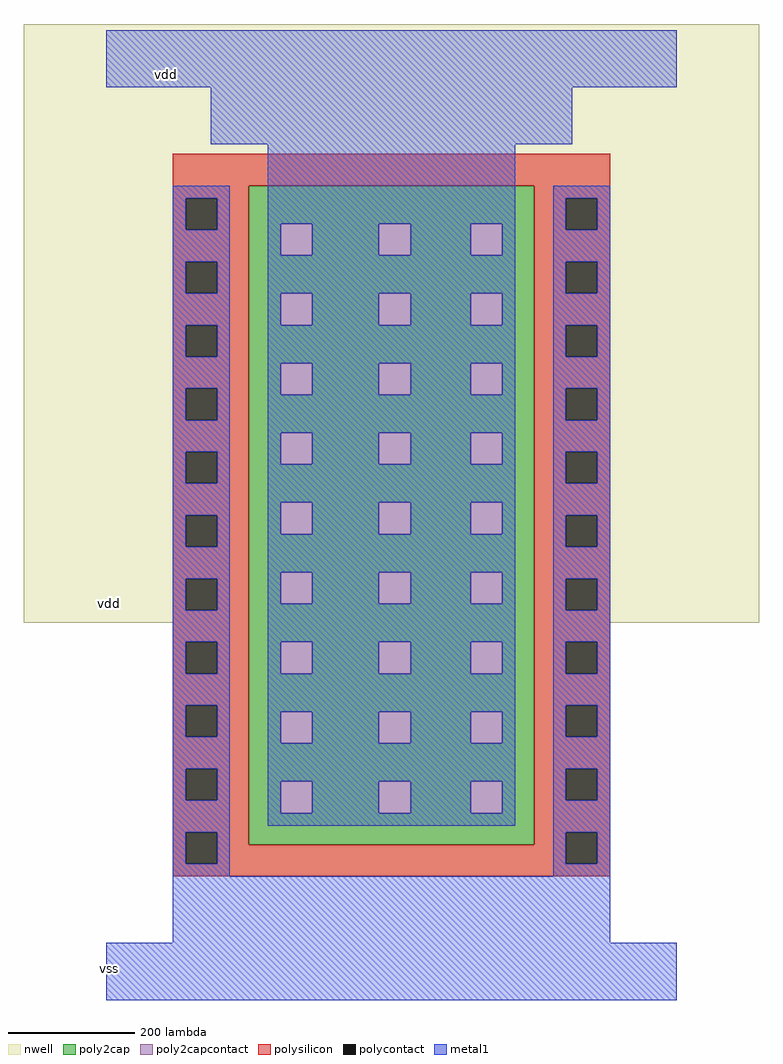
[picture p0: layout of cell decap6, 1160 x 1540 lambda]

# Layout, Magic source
magic
tech amic5n
<< nwell >>
rect -130 550 1030 1495
rect 105 150 795 550
<< polysilicon >>
rect 105 1240 795 1290
rect 105 1220 225 1240
rect 105 1170 125 1220
rect 175 1170 225 1220
rect 675 1220 795 1240
rect 105 1120 225 1170
rect 675 1170 725 1220
rect 775 1170 795 1220
rect 105 1070 125 1120
rect 175 1070 225 1120
rect 675 1120 795 1170
rect 675 1070 725 1120
rect 775 1070 795 1120
rect 105 1020 225 1070
rect 675 1020 795 1070
rect 105 970 125 1020
rect 175 970 225 1020
rect 105 920 225 970
rect 675 970 725 1020
rect 775 970 795 1020
rect 105 870 125 920
rect 175 870 225 920
rect 675 920 795 970
rect 105 820 225 870
rect 675 870 725 920
rect 775 870 795 920
rect 105 770 125 820
rect 175 770 225 820
rect 675 820 795 870
rect 105 720 225 770
rect 675 770 725 820
rect 775 770 795 820
rect 105 670 125 720
rect 175 670 225 720
rect 675 720 795 770
rect 105 620 225 670
rect 675 670 725 720
rect 775 670 795 720
rect 105 570 125 620
rect 175 570 225 620
rect 675 620 795 670
rect 105 520 225 570
rect 675 570 725 620
rect 775 570 795 620
rect 675 520 795 570
rect 105 470 125 520
rect 175 470 225 520
rect 675 470 725 520
rect 775 470 795 520
rect 105 420 225 470
rect 105 370 125 420
rect 175 370 225 420
rect 675 420 795 470
rect 105 320 225 370
rect 675 370 725 420
rect 775 370 795 420
rect 105 270 125 320
rect 175 270 225 320
rect 675 320 795 370
rect 105 220 225 270
rect 675 270 725 320
rect 775 270 795 320
rect 105 170 125 220
rect 175 200 225 220
rect 675 220 795 270
rect 675 200 725 220
rect 175 170 725 200
rect 775 170 795 220
rect 105 150 795 170
<< polycontact >>
rect 125 1170 175 1220
rect 725 1170 775 1220
rect 125 1070 175 1120
rect 725 1070 775 1120
rect 125 970 175 1020
rect 725 970 775 1020
rect 125 870 175 920
rect 725 870 775 920
rect 125 770 175 820
rect 725 770 775 820
rect 125 670 175 720
rect 725 670 775 720
rect 125 570 175 620
rect 725 570 775 620
rect 125 470 175 520
rect 725 470 775 520
rect 125 370 175 420
rect 725 370 775 420
rect 125 270 175 320
rect 725 270 775 320
rect 125 170 175 220
rect 725 170 775 220
<< poly2cap >>
rect 225 1180 675 1240
rect 225 1130 275 1180
rect 325 1130 430 1180
rect 480 1130 575 1180
rect 625 1130 675 1180
rect 225 1070 675 1130
rect 225 1020 275 1070
rect 325 1020 430 1070
rect 480 1020 575 1070
rect 625 1020 675 1070
rect 225 960 675 1020
rect 225 910 275 960
rect 325 910 430 960
rect 480 910 575 960
rect 625 910 675 960
rect 225 850 675 910
rect 225 800 275 850
rect 325 800 430 850
rect 480 800 575 850
rect 625 800 675 850
rect 225 740 675 800
rect 225 690 275 740
rect 325 690 430 740
rect 480 690 575 740
rect 625 690 675 740
rect 225 630 675 690
rect 225 580 275 630
rect 325 580 430 630
rect 480 580 575 630
rect 625 580 675 630
rect 225 520 675 580
rect 225 470 275 520
rect 325 470 430 520
rect 480 470 575 520
rect 625 470 675 520
rect 225 410 675 470
rect 225 360 275 410
rect 325 360 430 410
rect 480 360 575 410
rect 625 360 675 410
rect 225 300 675 360
rect 225 250 275 300
rect 325 250 430 300
rect 480 250 575 300
rect 625 250 675 300
rect 225 200 675 250
<< poly2capcontact >>
rect 275 1130 325 1180
rect 430 1130 480 1180
rect 575 1130 625 1180
rect 275 1020 325 1070
rect 430 1020 480 1070
rect 575 1020 625 1070
rect 275 910 325 960
rect 430 910 480 960
rect 575 910 625 960
rect 275 800 325 850
rect 430 800 480 850
rect 575 800 625 850
rect 275 690 325 740
rect 430 690 480 740
rect 575 690 625 740
rect 275 580 325 630
rect 430 580 480 630
rect 575 580 625 630
rect 275 470 325 520
rect 430 470 480 520
rect 575 470 625 520
rect 275 360 325 410
rect 430 360 480 410
rect 575 360 625 410
rect 275 250 325 300
rect 430 250 480 300
rect 575 250 625 300
<< metal1 >>
rect 0 1395 900 1485
rect 165 1305 735 1395
rect 105 1220 195 1240
rect 105 1170 125 1220
rect 175 1170 195 1220
rect 105 1120 195 1170
rect 105 1070 125 1120
rect 175 1070 195 1120
rect 105 1020 195 1070
rect 105 970 125 1020
rect 175 970 195 1020
rect 105 920 195 970
rect 105 870 125 920
rect 175 870 195 920
rect 105 820 195 870
rect 105 770 125 820
rect 175 770 195 820
rect 105 720 195 770
rect 105 670 125 720
rect 175 670 195 720
rect 105 620 195 670
rect 105 570 125 620
rect 175 570 195 620
rect 105 520 195 570
rect 105 470 125 520
rect 175 470 195 520
rect 105 420 195 470
rect 105 370 125 420
rect 175 370 195 420
rect 105 320 195 370
rect 105 270 125 320
rect 175 270 195 320
rect 105 220 195 270
rect 255 1180 645 1305
rect 255 1130 275 1180
rect 325 1130 430 1180
rect 480 1130 575 1180
rect 625 1130 645 1180
rect 255 1070 645 1130
rect 255 1020 275 1070
rect 325 1020 430 1070
rect 480 1020 575 1070
rect 625 1020 645 1070
rect 255 960 645 1020
rect 255 910 275 960
rect 325 910 430 960
rect 480 910 575 960
rect 625 910 645 960
rect 255 850 645 910
rect 255 800 275 850
rect 325 800 430 850
rect 480 800 575 850
rect 625 800 645 850
rect 255 740 645 800
rect 255 690 275 740
rect 325 690 430 740
rect 480 690 575 740
rect 625 690 645 740
rect 255 630 645 690
rect 255 580 275 630
rect 325 580 430 630
rect 480 580 575 630
rect 625 580 645 630
rect 255 520 645 580
rect 255 470 275 520
rect 325 470 430 520
rect 480 470 575 520
rect 625 470 645 520
rect 255 410 645 470
rect 255 360 275 410
rect 325 360 430 410
rect 480 360 575 410
rect 625 360 645 410
rect 255 300 645 360
rect 255 250 275 300
rect 325 250 430 300
rect 480 250 575 300
rect 625 250 645 300
rect 255 230 645 250
rect 705 1220 795 1240
rect 705 1170 725 1220
rect 775 1170 795 1220
rect 705 1120 795 1170
rect 705 1070 725 1120
rect 775 1070 795 1120
rect 705 1020 795 1070
rect 705 970 725 1020
rect 775 970 795 1020
rect 705 920 795 970
rect 705 870 725 920
rect 775 870 795 920
rect 705 820 795 870
rect 705 770 725 820
rect 775 770 795 820
rect 705 720 795 770
rect 705 670 725 720
rect 775 670 795 720
rect 705 620 795 670
rect 705 570 725 620
rect 775 570 795 620
rect 705 520 795 570
rect 705 470 725 520
rect 775 470 795 520
rect 705 420 795 470
rect 705 370 725 420
rect 775 370 795 420
rect 705 320 795 370
rect 705 270 725 320
rect 775 270 795 320
rect 105 170 125 220
rect 175 170 195 220
rect 105 150 195 170
rect 705 220 795 270
rect 705 170 725 220
rect 775 170 795 220
rect 705 150 795 170
rect 105 45 795 150
rect 0 -45 900 45
<< labels >>
flabel metal1 s 95 1415 95 1415 2 FreeSans 400 0 0 0 vdd
port 0 ne
flabel metal1 s 5 5 5 5 2 FreeSans 400 0 0 0 vss
port 1 ne
flabel nwell 5 580 5 580 2 FreeSans 400 0 0 0 vdd
<< properties >>
string LEFsite core
string LEFclass CORE
string FIXED_BBOX 0 0 900 1440
string LEFsymmetry X Y
<< end >>
